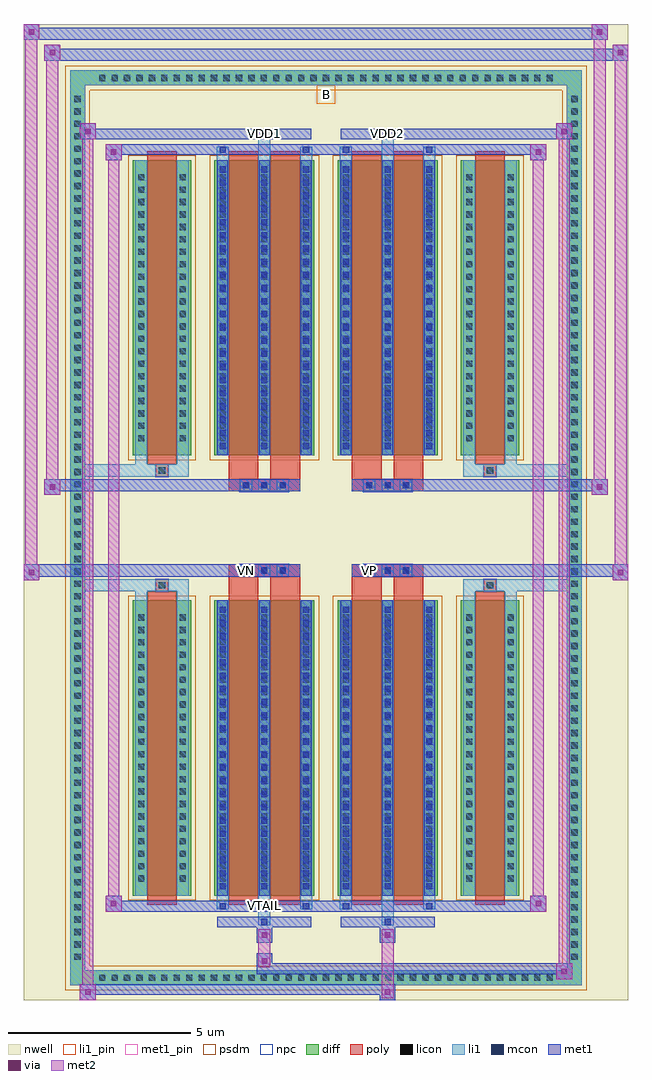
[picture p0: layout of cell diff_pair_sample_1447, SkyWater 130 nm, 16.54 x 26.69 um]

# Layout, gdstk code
import gdstk
lib = gdstk.Library(unit=1e-6, precision=5e-09)
def R(c, l, rs):  # rectangles x0, y0, x1, y1
    for r in rs: c.add(gdstk.rectangle(r[:2], r[2:], *l))
def A(c, l, x, y, w, h, nx, ny, dx, dy):  # array of equal rectangles
    R(c, l, [(x+i*dx, y+j*dy, x+i*dx+w, y+j*dy+h) for i in range(nx) for j in range(ny)])
def P(c, l, *ps):  # polygons
    for p in ps: c.add(gdstk.Polygon(p, *l))
nwell = (64, 20)
diff = (65, 20)
poly = (66, 20)
licon = (66, 44)
li1_pin = (67, 16)
li1 = (67, 20)
mcon = (67, 44)
met1_pin = (68, 16)
met1 = (68, 20)
via = (68, 44)
met2 = (69, 20)
psdm = (94, 20)
npc = (95, 20)

diff_pair_sample_1447 = lib.new_cell('diff_pair_sample_1447')
R(diff_pair_sample_1447, nwell, [(-8.27,-12.91,8.27,13.78), (-5.59,-11.1,-0.01,-0.8), (0.01,-11.1,5.59,-0.8), (-5.59,0.8,-0.01,11.1), (0.01,0.8,5.59,11.1)])
A(diff_pair_sample_1447, diff, -6.325, -12.51, 0.41, 0.41, 37, 2, 0.34, 24.61)
A(diff_pair_sample_1447, diff, -7, -11.935, 0.41, 0.41, 1, 70, 0, 0.34)
A(diff_pair_sample_1447, diff, 6.59, -11.935, 0.41, 0.41, 1, 70, 0, 0.34)
R(diff_pair_sample_1447, diff, [(-6.325,-12.51,6.325,-12.1), (-7,-11.935,-6.59,11.935), (6.59,-11.935,7,11.935), (-5.28,-10.055,-3.69,-1.985), (-3.05,-10.055,-0.32,-1.985), (0.32,-10.055,3.05,-1.985), (3.69,-10.055,5.28,-1.985), (-5.28,1.985,-3.69,10.055), (-3.05,1.985,-0.32,10.055), (0.32,1.985,3.05,10.055), (3.69,1.985,5.28,10.055), (-6.325,12.1,6.325,12.51)])
P(diff_pair_sample_1447, diff, [(7,12.51),(-7,12.51),(-7,-12.1),(-6.59,-12.1),(-6.59,12.1),(6.59,12.1),(6.59,-12.1),(-6.59,-12.1),(-7,-12.1),(-7,-12.51),(7,-12.51)])
A(diff_pair_sample_1447, poly, -2.35, -1.33, 0.33, 0.33, 3, 2, 0.5, 2.33)
A(diff_pair_sample_1447, poly, 1.02, -1.33, 0.33, 0.33, 3, 2, 0.5, 2.33)
R(diff_pair_sample_1447, poly, [(-4.89,-10.305,-4.08,-1.735), (-2.66,-10.305,-1.85,-1.735), (-1.52,-10.305,-0.71,-1.735), (0.71,-10.305,1.52,-1.735), (1.85,-10.305,2.66,-1.735), (4.08,-10.305,4.89,-1.735), (-4.65,-1.735,-4.32,-1.405), (-4.65,-1.735,-4.32,-1.405), (-2.66,-1.735,-1.85,-1.33), (-1.52,-1.735,-0.71,-1.33), (0.71,-1.735,1.52,-1.33), (1.85,-1.735,2.66,-1.33), (4.32,-1.735,4.65,-1.405), (4.32,-1.735,4.65,-1.405), (-2.66,-1.33,-0.71,-1), (0.71,-1.33,2.66,-1), (-2.66,1,-0.71,1.33), (0.71,1,2.66,1.33), (-2.66,1.33,-1.85,1.735), (-1.52,1.33,-0.71,1.735), (0.71,1.33,1.52,1.735), (1.85,1.33,2.66,1.735), (-4.65,1.405,-4.32,1.735), (-4.65,1.405,-4.32,1.735), (4.32,1.405,4.65,1.735), (4.32,1.405,4.65,1.735), (-4.89,1.735,-4.08,10.305), (-2.66,1.735,-1.85,10.305), (-1.52,1.735,-0.71,10.305), (0.71,1.735,1.52,10.305), (1.85,1.735,2.66,10.305), (4.08,1.735,4.89,10.305)])
A(diff_pair_sample_1447, licon, -6.205, -12.39, 0.17, 0.17, 37, 2, 0.34, 24.61)
A(diff_pair_sample_1447, licon, -6.88, -11.815, 0.17, 0.17, 1, 70, 0, 0.34)
A(diff_pair_sample_1447, licon, 6.71, -11.815, 0.17, 0.17, 1, 70, 0, 0.34)
A(diff_pair_sample_1447, licon, -5.14, -9.675, 0.17, 0.17, 1, 22, 0, 0.34)
A(diff_pair_sample_1447, licon, -4, -9.675, 0.17, 0.17, 1, 22, 0, 0.34)
A(diff_pair_sample_1447, licon, -2.91, -9.675, 0.17, 0.17, 3, 22, 1.14, 0.34)
A(diff_pair_sample_1447, licon, 0.46, -9.675, 0.17, 0.17, 3, 22, 1.14, 0.34)
A(diff_pair_sample_1447, licon, 3.83, -9.675, 0.17, 0.17, 1, 22, 0, 0.34)
A(diff_pair_sample_1447, licon, 4.97, -9.675, 0.17, 0.17, 1, 22, 0, 0.34)
A(diff_pair_sample_1447, licon, -2.27, -1.25, 0.17, 0.17, 3, 2, 0.5, 2.33)
A(diff_pair_sample_1447, licon, 1.1, -1.25, 0.17, 0.17, 3, 2, 0.5, 2.33)
A(diff_pair_sample_1447, licon, -5.14, 2.365, 0.17, 0.17, 1, 22, 0, 0.34)
A(diff_pair_sample_1447, licon, -4, 2.365, 0.17, 0.17, 1, 22, 0, 0.34)
A(diff_pair_sample_1447, licon, -2.91, 2.365, 0.17, 0.17, 3, 22, 1.14, 0.34)
A(diff_pair_sample_1447, licon, 0.46, 2.365, 0.17, 0.17, 3, 22, 1.14, 0.34)
A(diff_pair_sample_1447, licon, 3.83, 2.365, 0.17, 0.17, 1, 22, 0, 0.34)
A(diff_pair_sample_1447, licon, 4.97, 2.365, 0.17, 0.17, 1, 22, 0, 0.34)
R(diff_pair_sample_1447, licon, [(-4.57,-1.655,-4.4,-1.485), (4.4,-1.655,4.57,-1.485), (-4.57,1.485,-4.4,1.655), (4.4,1.485,4.57,1.655)])
R(diff_pair_sample_1447, li1_pin, [(-0.25,11.6,0.25,12.1)])
A(diff_pair_sample_1447, li1, -6.285, -12.47, 0.33, 0.33, 37, 2, 0.34, 24.61)
A(diff_pair_sample_1447, li1, -6.96, -11.895, 0.33, 0.33, 1, 70, 0, 0.34)
A(diff_pair_sample_1447, li1, 6.63, -11.895, 0.33, 0.33, 1, 70, 0, 0.34)
A(diff_pair_sample_1447, li1, -2.99, -10.055, 0.33, 8.07, 3, 2, 1.14, 12.04)
A(diff_pair_sample_1447, li1, 0.38, -10.055, 0.33, 8.07, 3, 2, 1.14, 12.04)
A(diff_pair_sample_1447, li1, -2.91, -9.885, 0.17, 0.17, 3, 22, 1.14, 0.36)
A(diff_pair_sample_1447, li1, -2.91, -9.885, 0.17, 7.73, 3, 2, 1.14, 12.04)
A(diff_pair_sample_1447, li1, 0.46, -9.885, 0.17, 0.17, 3, 22, 1.14, 0.36)
A(diff_pair_sample_1447, li1, 0.46, -9.885, 0.17, 7.73, 3, 2, 1.14, 12.04)
A(diff_pair_sample_1447, li1, -5.22, -9.755, 0.33, 0.33, 1, 22, 0, 0.34)
A(diff_pair_sample_1447, li1, -4.08, -9.755, 0.33, 0.33, 1, 22, 0, 0.34)
A(diff_pair_sample_1447, li1, -2.99, -9.755, 0.33, 0.33, 3, 22, 1.14, 0.34)
A(diff_pair_sample_1447, li1, 0.38, -9.755, 0.33, 0.33, 3, 22, 1.14, 0.34)
A(diff_pair_sample_1447, li1, 3.75, -9.755, 0.33, 0.33, 1, 22, 0, 0.34)
A(diff_pair_sample_1447, li1, 4.89, -9.755, 0.33, 0.33, 1, 22, 0, 0.34)
A(diff_pair_sample_1447, li1, -2.35, -1.33, 0.33, 0.33, 3, 2, 0.5, 2.33)
A(diff_pair_sample_1447, li1, 1.02, -1.33, 0.33, 0.33, 3, 2, 0.5, 2.33)
A(diff_pair_sample_1447, li1, -2.91, 2.155, 0.17, 0.17, 3, 22, 1.14, 0.36)
A(diff_pair_sample_1447, li1, 0.46, 2.155, 0.17, 0.17, 3, 22, 1.14, 0.36)
A(diff_pair_sample_1447, li1, -5.22, 2.285, 0.33, 0.33, 1, 22, 0, 0.34)
A(diff_pair_sample_1447, li1, -4.08, 2.285, 0.33, 0.33, 1, 22, 0, 0.34)
A(diff_pair_sample_1447, li1, -2.99, 2.285, 0.33, 0.33, 3, 22, 1.14, 0.34)
A(diff_pair_sample_1447, li1, 0.38, 2.285, 0.33, 0.33, 3, 22, 1.14, 0.34)
A(diff_pair_sample_1447, li1, 3.75, 2.285, 0.33, 0.33, 1, 22, 0, 0.34)
A(diff_pair_sample_1447, li1, 4.89, 2.285, 0.33, 0.33, 1, 22, 0, 0.34)
R(diff_pair_sample_1447, li1, [(-7,-12.51,-6.59,-12.1), (-7,-12.51,-6.59,-12.1), (-6.59,-12.51,6.59,-12.1), (6.59,-12.51,7,-12.1), (6.59,-12.51,7,-12.1), (-7,-12.1,-6.59,12.1), (6.59,-12.1,7,12.1), (-1.85,-10.86,-1.52,-10.055), (-1.77,-10.86,-1.6,-10.69), (1.52,-10.86,1.85,-10.055), (1.6,-10.86,1.77,-10.69), (-2.99,-10.43,-2.66,-10.055), (-2.91,-10.43,-2.74,-10.26), (-0.71,-10.43,-0.38,-10.055), (-0.63,-10.43,-0.46,-10.26), (0.38,-10.43,0.71,-10.055), (0.46,-10.43,0.63,-10.26), (2.66,-10.43,2.99,-10.055), (2.74,-10.43,2.91,-10.26), (-5.22,-10.055,-4.89,-1.985), (-4.08,-10.055,-3.75,-1.985), (3.75,-10.055,4.08,-1.985), (4.89,-10.055,5.22,-1.985), (-5.22,-1.985,-4.89,-1.405), (-4.08,-1.985,-3.75,-1.405), (3.75,-1.985,4.08,-1.405), (4.89,-1.985,5.22,-1.405), (-7,-1.735,-4.65,-1.405), (-5.22,-1.735,-4.65,-1.405), (-4.65,-1.735,-4.32,-1.405), (-4.32,-1.735,-3.75,-1.405), (3.75,-1.735,4.32,-1.405), (4.32,-1.735,4.65,-1.405), (4.32,-1.735,7,-1.405), (4.65,-1.735,5.22,-1.405), (-7,1.405,-4.65,1.735), (-5.22,1.405,-4.65,1.735), (-5.22,1.405,-4.89,1.985), (-4.65,1.405,-4.32,1.735), (-4.32,1.405,-3.75,1.735), (-4.08,1.405,-3.75,1.985), (3.75,1.405,4.32,1.735), (3.75,1.405,4.08,1.985), (4.32,1.405,4.65,1.735), (4.32,1.405,7,1.735), (4.65,1.405,5.22,1.735), (4.89,1.405,5.22,1.985), (-5.22,1.985,-4.89,10.055), (-4.08,1.985,-3.75,10.055), (3.75,1.985,4.08,10.055), (4.89,1.985,5.22,10.055), (-2.99,10.055,-2.66,10.43), (-1.85,10.055,-1.52,10.86), (-0.71,10.055,-0.38,10.43), (0.38,10.055,0.71,10.43), (1.52,10.055,1.85,10.86), (2.66,10.055,2.99,10.43), (-2.91,10.26,-2.74,10.43), (-0.63,10.26,-0.46,10.43), (0.46,10.26,0.63,10.43), (2.74,10.26,2.91,10.43), (-1.77,10.69,-1.6,10.86), (1.6,10.69,1.77,10.86), (-7,12.1,-6.59,12.51), (-7,12.1,-6.59,12.51), (-6.59,12.1,6.59,12.51), (6.59,12.1,7,12.51), (6.59,12.1,7,12.51)])
A(diff_pair_sample_1447, mcon, -2.91, -9.885, 0.17, 0.17, 3, 22, 1.14, 0.36)
A(diff_pair_sample_1447, mcon, 0.46, -9.885, 0.17, 0.17, 3, 22, 1.14, 0.36)
A(diff_pair_sample_1447, mcon, -2.27, -1.25, 0.17, 0.17, 3, 2, 0.5, 2.33)
A(diff_pair_sample_1447, mcon, 1.1, -1.25, 0.17, 0.17, 3, 2, 0.5, 2.33)
A(diff_pair_sample_1447, mcon, -2.91, 2.155, 0.17, 0.17, 3, 22, 1.14, 0.36)
A(diff_pair_sample_1447, mcon, 0.46, 2.155, 0.17, 0.17, 3, 22, 1.14, 0.36)
R(diff_pair_sample_1447, mcon, [(-1.77,-10.86,-1.6,-10.69), (1.6,-10.86,1.77,-10.69), (-2.91,-10.43,-2.74,-10.26), (-0.63,-10.43,-0.46,-10.26), (0.46,-10.43,0.63,-10.26), (2.74,-10.43,2.91,-10.26), (-2.91,10.26,-2.74,10.43), (-0.63,10.26,-0.46,10.43), (0.46,10.26,0.63,10.43), (2.74,10.26,2.91,10.43), (-1.77,10.69,-1.6,10.86), (1.6,10.69,1.77,10.86)])
R(diff_pair_sample_1447, met1_pin, [(-1.82,-10.47,-1.55,-10.2), (-2.32,-1.29,-2.05,-1.02), (1.05,-1.29,1.32,-1.02), (-1.82,10.65,-1.55,10.92), (1.55,10.65,1.82,10.92)])
A(diff_pair_sample_1447, met1, -2.97, -10.055, 0.29, 8.07, 3, 2, 1.14, 12.04)
A(diff_pair_sample_1447, met1, 0.4, -10.055, 0.29, 8.07, 3, 2, 1.14, 12.04)
A(diff_pair_sample_1447, met1, -2.97, -9.945, 0.29, 0.29, 3, 22, 1.14, 0.36)
A(diff_pair_sample_1447, met1, 0.4, -9.945, 0.29, 0.29, 3, 22, 1.14, 0.36)
A(diff_pair_sample_1447, met1, -2.33, -1.31, 0.29, 0.29, 3, 2, 0.5, 2.33)
A(diff_pair_sample_1447, met1, 1.04, -1.31, 0.29, 0.29, 3, 2, 0.5, 2.33)
A(diff_pair_sample_1447, met1, -2.97, 2.095, 0.29, 0.29, 3, 22, 1.14, 0.36)
A(diff_pair_sample_1447, met1, 0.4, 2.095, 0.29, 0.29, 3, 22, 1.14, 0.36)
R(diff_pair_sample_1447, met1, [(-6.73,-12.91,-6.3,-12.48), (1.47,-12.91,1.9,-12.48), (-6.73,-12.77,1.9,-12.48), (6.3,-12.34,6.73,-11.91), (-1.9,-12.2,6.73,-11.91), (-1.9,-12.06,-1.47,-11.63), (-1.9,-11.35,-1.47,-10.92), (1.47,-11.35,1.9,-10.92), (-2.97,-10.92,-0.4,-10.63), (-1.83,-10.92,-1.54,-10.63), (0.4,-10.92,2.97,-10.63), (1.54,-10.92,1.83,-10.63), (-6.02,-10.49,-5.59,-10.06), (-6.02,-10.49,-2.97,-10.2), (-2.97,-10.49,-2.68,-10.2), (-2.97,-10.49,-0.4,-10.2), (-0.69,-10.49,-0.4,-10.2), (-0.4,-10.49,0.4,-10.2), (0.4,-10.49,0.69,-10.2), (0.4,-10.49,2.97,-10.2), (2.68,-10.49,2.97,-10.2), (2.97,-10.49,6.02,-10.2), (5.59,-10.49,6.02,-10.06), (-8.27,-1.43,-7.84,-1), (7.84,-1.43,8.27,-1), (-8.27,-1.33,-0.71,-1), (-2.66,-1.33,-0.71,-1), (0.71,-1.33,2.66,-1), (0.71,-1.33,8.27,-1), (-7.7,0.9,-7.27,1.33), (7.27,0.9,7.7,1.33), (-7.7,1,-2.66,1.33), (-2.66,1,-0.71,1.33), (0.71,1,2.66,1.33), (2.66,1,7.7,1.33), (-6.02,10.06,-5.59,10.49), (5.59,10.06,6.02,10.49), (-6.02,10.2,-2.97,10.49), (-2.97,10.2,-2.68,10.49), (-2.97,10.2,-0.4,10.49), (-0.69,10.2,-0.4,10.49), (-0.4,10.2,0.4,10.49), (0.4,10.2,0.69,10.49), (0.4,10.2,2.97,10.49), (2.68,10.2,2.97,10.49), (2.97,10.2,6.02,10.49), (-6.73,10.63,-6.3,11.06), (-6.73,10.63,-2.97,10.92), (-2.97,10.63,-0.4,10.92), (-1.83,10.63,-1.54,10.92), (0.4,10.63,2.97,10.92), (1.54,10.63,1.83,10.92), (2.97,10.63,6.73,10.92), (6.3,10.63,6.73,11.06), (-7.7,12.78,-7.27,13.21), (-7.7,12.78,-5.59,13.11), (-5.59,12.78,5.59,13.11), (5.59,12.78,8.27,13.11), (7.84,12.78,8.27,13.21), (-8.27,13.35,-7.84,13.78), (-8.27,13.35,-5.59,13.68), (-5.59,13.35,5.59,13.68), (5.59,13.35,7.7,13.68), (7.27,13.35,7.7,13.78)])
R(diff_pair_sample_1447, via, [(-6.59,-12.77,-6.44,-12.62), (1.61,-12.77,1.76,-12.62), (6.44,-12.2,6.59,-12.05), (-1.76,-11.92,-1.61,-11.77), (-1.76,-11.21,-1.61,-11.06), (1.61,-11.21,1.76,-11.06), (-5.88,-10.35,-5.73,-10.2), (5.73,-10.35,5.88,-10.2), (-8.13,-1.29,-7.98,-1.14), (7.98,-1.29,8.13,-1.14), (-7.56,1.04,-7.41,1.19), (7.41,1.04,7.56,1.19), (-5.88,10.2,-5.73,10.35), (5.73,10.2,5.88,10.35), (-6.59,10.77,-6.44,10.92), (6.44,10.77,6.59,10.92), (-7.56,12.92,-7.41,13.07), (7.98,12.92,8.13,13.07), (-8.13,13.49,-7.98,13.64), (7.41,13.49,7.56,13.64)])
R(diff_pair_sample_1447, met2, [(-6.73,-12.91,-6.3,-12.48), (-6.66,-12.91,-6.37,11.06), (-6.37,-12.91,-6.3,-12.48), (-6.68,-12.86,-6.35,-12.53), (1.52,-12.86,1.85,-12.53), (1.52,-12.53,1.85,-11.3), (6.3,-12.34,6.73,-11.91), (6.37,-12.34,6.66,11.06), (6.66,-12.34,6.73,-11.91), (6.35,-12.29,6.68,-11.96), (-1.85,-12.01,-1.52,-11.68), (-1.85,-11.68,-1.52,-11.3), (-1.85,-11.3,-1.52,-10.97), (1.52,-11.3,1.85,-10.97), (-6.02,-10.49,-5.59,-10.06), (-5.95,-10.49,-5.66,10.49), (-5.66,-10.49,-5.59,-10.06), (5.59,-10.49,6.02,-10.06), (5.66,-10.49,5.95,10.49), (5.95,-10.49,6.02,-10.06), (-5.97,-10.44,-5.64,-10.11), (5.64,-10.44,5.97,-10.11), (-8.27,-1.43,-7.84,-1), (-8.22,-1.43,-7.89,13.78), (-7.89,-1.43,-7.84,-1), (7.84,-1.43,8.27,-1), (7.89,-1.43,8.22,13.21), (8.22,-1.43,8.27,-1), (-8.22,-1.38,-7.89,-1.05), (7.89,-1.38,8.22,-1.05), (-7.7,0.9,-7.27,1.33), (-7.65,0.9,-7.32,13.21), (-7.32,0.9,-7.27,1.33), (7.27,0.9,7.7,1.33), (7.32,0.9,7.65,13.78), (7.65,0.9,7.7,1.33), (-7.65,0.95,-7.32,1.28), (7.32,0.95,7.65,1.28), (-6.02,10.06,-5.59,10.49), (-5.66,10.06,-5.59,10.49), (5.59,10.06,6.02,10.49), (5.95,10.06,6.02,10.49), (-5.97,10.11,-5.64,10.44), (5.64,10.11,5.97,10.44), (-6.73,10.63,-6.3,11.06), (-6.37,10.63,-6.3,11.06), (6.3,10.63,6.73,11.06), (6.66,10.63,6.73,11.06), (-6.68,10.68,-6.35,11.01), (6.35,10.68,6.68,11.01), (-7.7,12.78,-7.27,13.21), (-7.32,12.78,-7.27,13.21), (7.84,12.78,8.27,13.21), (8.22,12.78,8.27,13.21), (-7.65,12.83,-7.32,13.16), (7.89,12.83,8.22,13.16), (-8.27,13.35,-7.84,13.78), (-7.89,13.35,-7.84,13.78), (7.27,13.35,7.7,13.78), (7.65,13.35,7.7,13.78), (-8.22,13.4,-7.89,13.73), (7.32,13.4,7.65,13.73)])
R(diff_pair_sample_1447, psdm, [(-5.41,-10.185,-3.56,-1.855), (-3.18,-10.185,-0.19,-1.855), (0.19,-10.185,3.18,-1.855), (3.56,-10.185,5.41,-1.855), (-5.41,1.855,-3.56,10.185), (-3.18,1.855,-0.19,10.185), (0.19,1.855,3.18,10.185), (3.56,1.855,5.41,10.185)])
P(diff_pair_sample_1447, psdm, [(7.13,12.64),(-7.13,12.64),(-7.13,-11.97),(-6.46,-11.97),(-6.46,11.97),(6.46,11.97),(6.46,-11.97),(-6.46,-11.97),(-7.13,-11.97),(-7.13,-12.64),(7.13,-12.64)])
A(diff_pair_sample_1447, npc, -2.37, -1.35, 0.37, 0.37, 3, 2, 0.5, 2.33)
A(diff_pair_sample_1447, npc, 1, -1.35, 0.37, 0.37, 3, 2, 0.5, 2.33)
R(diff_pair_sample_1447, npc, [(-4.67,-1.755,-4.3,-1.385), (4.3,-1.755,4.67,-1.385), (-2.37,-1.35,-1.5,-0.98), (-2.37,-1.35,-1.5,-0.98), (-1.87,-1.35,-1,-0.98), (-1.87,-1.35,-1,-0.98), (1,-1.35,1.87,-0.98), (1,-1.35,1.87,-0.98), (1.5,-1.35,2.37,-0.98), (1.5,-1.35,2.37,-0.98), (-2.37,0.98,-1.5,1.35), (-2.37,0.98,-1.5,1.35), (-1.87,0.98,-1,1.35), (-1.87,0.98,-1,1.35), (1,0.98,1.87,1.35), (1,0.98,1.87,1.35), (1.5,0.98,2.37,1.35), (1.5,0.98,2.37,1.35), (-4.67,1.385,-4.3,1.755), (4.3,1.385,4.67,1.755)])
diff_pair_sample_1447.add(gdstk.Label('VTAIL', (-1.685,-10.335), layer=68, texttype=5))
diff_pair_sample_1447.add(gdstk.Label('VN', (-2.185,-1.155), layer=68, texttype=5))
diff_pair_sample_1447.add(gdstk.Label('VP', (1.185,-1.155), layer=68, texttype=5))
diff_pair_sample_1447.add(gdstk.Label('B', (0,11.85), layer=67, texttype=5))
diff_pair_sample_1447.add(gdstk.Label('VDD2', (1.685,10.785), layer=68, texttype=5))
diff_pair_sample_1447.add(gdstk.Label('VDD1', (-1.685,10.785), layer=68, texttype=5))

lib.write_gds('diff_pair_sample_1447.gds')
